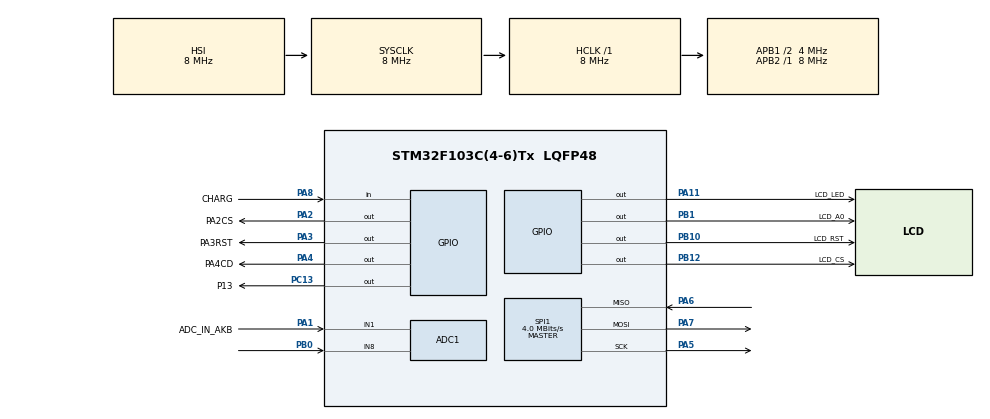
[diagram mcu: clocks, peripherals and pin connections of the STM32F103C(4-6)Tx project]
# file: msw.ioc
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ADC1.Channel-1\#ChannelRegularConversion=ADC_CHANNEL_8
ADC1.Channel-2\#ChannelInjectedConversion=ADC_CHANNEL_1
ADC1.Channel-3\#ChannelInjectedConversion=ADC_CHANNEL_8
ADC1.EnableAnalogWatchDog=false
ADC1.EnableInjectedConversion=ENABLE
ADC1.InjNumberOfConversion=2
ADC1.InjectedConvMode=AutoInjected
ADC1.InjectedOffset-2\#ChannelInjectedConversion=0
ADC1.InjectedOffset-3\#ChannelInjectedConversion=0
ADC1.InjectedRank-2\#ChannelInjectedConversion=1
ADC1.InjectedRank-3\#ChannelInjectedConversion=2
ADC1.NbrOfConversion=1
ADC1.NbrOfConversionFlag=1
ADC1.Rank-1\#ChannelRegularConversion=1
ADC1.SamplingTime-1\#ChannelRegularConversion=ADC_SAMPLETIME_13CYCLES_5
ADC1.SamplingTime-2\#ChannelInjectedConversion=ADC_SAMPLETIME_28CYCLES_5
ADC1.SamplingTime-3\#ChannelInjectedConversion=ADC_SAMPLETIME_28CYCLES_5
ADC1.master=1
Mcu.Family=STM32F1
Mcu.Name=STM32F103C(4-6)Tx
Mcu.Package=LQFP48
NVIC.ADC1_2_IRQn=true\:0\:0\:false\:false\:true\:true\:true\:true
NVIC.PriorityGroup=NVIC_PRIORITYGROUP_4
NVIC.RTC_Alarm_IRQn=true\:0\:0\:false\:false\:true\:true\:true\:true
NVIC.RTC_IRQn=true\:0\:0\:false\:false\:true\:true\:true\:true
PA1.GPIO_Label=ADC_IN_AKB
PA1.Signal=ADCx_IN1
PA11.GPIO_Label=LCD_LED
PA11.Signal=GPIO_Output
PA13.Mode=Serial_Wire
PA13.Signal=SYS_JTMS-SWDIO
PA14.Mode=Serial_Wire
PA14.Signal=SYS_JTCK-SWCLK
PA2.GPIO_Label=PA2CS
PA2.Signal=GPIO_Output
PA3.GPIO_Label=PA3RST
PA3.GPIO_PuPd=GPIO_NOPULL
PA3.PinState=GPIO_PIN_RESET
PA3.Signal=GPIO_Output
PA4.GPIO_Label=PA4CD
PA4.Signal=GPIO_Output
PA5.Mode=Full_Duplex_Master
PA5.Signal=SPI1_SCK
PA6.Mode=Full_Duplex_Master
PA6.Signal=SPI1_MISO
PA7.Mode=Full_Duplex_Master
PA7.Signal=SPI1_MOSI
PA8.GPIO_Label=CHARG
PA8.Signal=GPIO_Input
PB0.Signal=ADCx_IN8
PB1.GPIO_Label=LCD_A0
PB1.Signal=GPIO_Output
PB10.GPIO_Label=LCD_RST
PB10.Signal=GPIO_Output
PB12.GPIO_Label=LCD_CS
PB12.Signal=GPIO_Output
PC13-TAMPER-RTC.GPIO_Label=P13
PC13-TAMPER-RTC.Signal=GPIO_Output
PC14-OSC32_IN.Mode=LSE-External-Oscillator
PC14-OSC32_IN.Signal=RCC_OSC32_IN
PC15-OSC32_OUT.Mode=LSE-External-Oscillator
PC15-OSC32_OUT.Signal=RCC_OSC32_OUT
ProjectManager.HeapSize=0x200
ProjectManager.StackSize=0x400
ProjectManager.TargetToolchain=STM32CubeIDE
RCC.AHBFreq_Value=8000000
RCC.APB1CLKDivider=RCC_HCLK_DIV2
RCC.APB1Freq_Value=4000000
RCC.APB1TimFreq_Value=8000000
RCC.APB2Freq_Value=8000000
RCC.APB2TimFreq_Value=8000000
RCC.HCLKFreq_Value=8000000
RCC.RTCClockSelection=RCC_RTCCLKSOURCE_LSE
RCC.SYSCLKFreq_VALUE=8000000
RCC.USBFreq_Value=8000000
RTC.Date=16
RTC.Hours=16
RTC.Minutes=14
RTC.Month=RTC_MONTH_OCTOBER
RTC.WeekDay=RTC_WEEKDAY_THURSDAY
RTC.Year=25
SH.ADCx_IN1.0=ADC1_IN1,IN1
SH.ADCx_IN8.0=ADC1_IN8,IN8
SPI1.BaudRatePrescaler=SPI_BAUDRATEPRESCALER_2
SPI1.CLKPhase=SPI_PHASE_1EDGE
SPI1.CLKPolarity=SPI_POLARITY_LOW
SPI1.CRCCalculation=SPI_CRCCALCULATION_DISABLE
SPI1.CalculateBaudRate=4.0 MBits/s
SPI1.DataSize=SPI_DATASIZE_8BIT
SPI1.Direction=SPI_DIRECTION_2LINES
SPI1.FirstBit=SPI_FIRSTBIT_MSB
SPI1.Mode=SPI_MODE_MASTER
SPI1.VirtualType=VM_MASTER
VP_RTC_VS_RTC_Activate.Mode=RTC_Enabled
VP_RTC_VS_RTC_Calendar.Mode=RTC_Calendar
board=custom

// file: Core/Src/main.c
/* USER CODE BEGIN Header */
/**
  ******************************************************************************
  * @file           : main.c
  * @brief          : Main program body
  ******************************************************************************
  * @attention
  *
  * Copyright (c) 2025 STMicroelectronics.
  * All rights reserved.
  *
  * This software is licensed under terms that can be found in the LICENSE file
  * in the root directory of this software component.
  * If no LICENSE file comes with this software, it is provided AS-IS.
  *
  ******************************************************************************
  */
/* USER CODE END Header */
#include "main.h"

/* USER CODE BEGIN Includes */
#include "display.h"
#include "RTCManager.h"
#include "Thermistor.h"
#include "Battery.h"
#include "UIManager.h"
#include <math.h>
/* USER CODE END Includes */

ADC_HandleTypeDef hadc1;

RTC_HandleTypeDef hrtc;

SPI_HandleTypeDef hspi1;

/* USER CODE BEGIN PV */

//RTC
uint8_t rtc_tick = 0x0;
RTC_TimeTypeDef clkTime;
RTC_DateTypeDef clkDate;

//ADC
uint8_t adc1_tick = 0x0;
uint16_t _vref = 0;
uint16_t adc1_value_battery = 0;
uint16_t adc1_value_thermistor = 0;

/* USER CODE END PV */

void SystemClock_Config(void);
static void MX_GPIO_Init(void);
static void MX_SPI1_Init(void);
static void MX_RTC_Init(void);
static void MX_ADC1_Init(void);

int main(void)
{

  /* MCU Configuration--------------------------------------------------------*/

  /* Reset of all peripherals, Initializes the Flash interface and the Systick. */
  HAL_Init();

  /* USER CODE BEGIN Init */
  __HAL_RCC_PWR_CLK_ENABLE(); // PWR
  HAL_PWR_EnableBkUpAccess();// backup-домену
  /* USER CODE END Init */

  /* Configure the system clock */
  SystemClock_Config();

  /* Initialize all configured peripherals */
  MX_GPIO_Init();
  MX_SPI1_Init();
  MX_RTC_Init();
  MX_ADC1_Init();
  /* USER CODE BEGIN 2 */
  HAL_ADCEx_Calibration_Start(&hadc1);//калебровка
  LCD_Init();
  UI_Init();
  /* USER CODE END 2 */

  /* Infinite loop */
  /* USER CODE BEGIN WHILE */
  HAL_ADC_Start_IT(&hadc1);
  while (1)
  {
    /* USER CODE END WHILE */

    /* USER CODE BEGIN 3 */

    if (rtc_tick) {
      rtc_tick = 0;
      UI_UpdateDataFromRTC();
      if(adc1_tick){
           adc1_tick = 0;
           UI_UpdateDataFromADC();
           HAL_ADC_Start_IT(&hadc1);
      }
    }

    UI_Update();
    HAL_Delay(1);

  }
  /* USER CODE END 3 */
}

void SystemClock_Config(void)
{
  RCC_OscInitTypeDef RCC_OscInitStruct = {0};
  RCC_ClkInitTypeDef RCC_ClkInitStruct = {0};
  RCC_PeriphCLKInitTypeDef PeriphClkInit = {0};

  /** Initializes the RCC Oscillators according to the specified parameters
  * in the RCC_OscInitTypeDef structure.
  */
  RCC_OscInitStruct.OscillatorType = RCC_OSCILLATORTYPE_HSI|RCC_OSCILLATORTYPE_LSE;
  RCC_OscInitStruct.LSEState = RCC_LSE_ON;
  RCC_OscInitStruct.HSIState = RCC_HSI_ON;
  RCC_OscInitStruct.HSICalibrationValue = RCC_HSICALIBRATION_DEFAULT;
  RCC_OscInitStruct.PLL.PLLState = RCC_PLL_NONE;
  if (HAL_RCC_OscConfig(&RCC_OscInitStruct) != HAL_OK)
  {
    Error_Handler();
  }

  /** Initializes the CPU, AHB and APB buses clocks
  */
  RCC_ClkInitStruct.ClockType = RCC_CLOCKTYPE_HCLK|RCC_CLOCKTYPE_SYSCLK
                              |RCC_CLOCKTYPE_PCLK1|RCC_CLOCKTYPE_PCLK2;
  RCC_ClkInitStruct.SYSCLKSource = RCC_SYSCLKSOURCE_HSI;
  RCC_ClkInitStruct.AHBCLKDivider = RCC_SYSCLK_DIV1;
  RCC_ClkInitStruct.APB1CLKDivider = RCC_HCLK_DIV2;
  RCC_ClkInitStruct.APB2CLKDivider = RCC_HCLK_DIV1;

  if (HAL_RCC_ClockConfig(&RCC_ClkInitStruct, FLASH_LATENCY_0) != HAL_OK)
  {
    Error_Handler();
  }
  PeriphClkInit.PeriphClockSelection = RCC_PERIPHCLK_RTC|RCC_PERIPHCLK_ADC;
  PeriphClkInit.RTCClockSelection = RCC_RTCCLKSOURCE_LSE;
  PeriphClkInit.AdcClockSelection = RCC_ADCPCLK2_DIV2;
  if (HAL_RCCEx_PeriphCLKConfig(&PeriphClkInit) != HAL_OK)
  {
    Error_Handler();
  }
}

static void MX_ADC1_Init(void)
{

  ADC_ChannelConfTypeDef sConfig = {0};
  ADC_InjectionConfTypeDef sConfigInjected = {0};

  /** Common config
  */
  hadc1.Instance = ADC1;
  hadc1.Init.ScanConvMode = ADC_SCAN_ENABLE;
  hadc1.Init.ContinuousConvMode = DISABLE;
  hadc1.Init.DiscontinuousConvMode = DISABLE;
  hadc1.Init.ExternalTrigConv = ADC_SOFTWARE_START;
  hadc1.Init.DataAlign = ADC_DATAALIGN_RIGHT;
  hadc1.Init.NbrOfConversion = 1;
  if (HAL_ADC_Init(&hadc1) != HAL_OK)
  {
    Error_Handler();
  }

  /** Configure Regular Channel
  */
  sConfig.Channel = ADC_CHANNEL_8;
  sConfig.Rank = ADC_REGULAR_RANK_1;
  sConfig.SamplingTime = ADC_SAMPLETIME_13CYCLES_5;
  if (HAL_ADC_ConfigChannel(&hadc1, &sConfig) != HAL_OK)
  {
    Error_Handler();
  }

  /** Configure Injected Channel
  */
  sConfigInjected.InjectedChannel = ADC_CHANNEL_1;
  sConfigInjected.InjectedRank = ADC_INJECTED_RANK_1;
  sConfigInjected.InjectedNbrOfConversion = 2;
  sConfigInjected.InjectedSamplingTime = ADC_SAMPLETIME_28CYCLES_5;
  sConfigInjected.ExternalTrigInjecConv = ADC_INJECTED_SOFTWARE_START;
  sConfigInjected.AutoInjectedConv = ENABLE;
  sConfigInjected.InjectedDiscontinuousConvMode = DISABLE;
  sConfigInjected.InjectedOffset = 0;
  if (HAL_ADCEx_InjectedConfigChannel(&hadc1, &sConfigInjected) != HAL_OK)
  {
    Error_Handler();
  }

  /** Configure Injected Channel
  */
  sConfigInjected.InjectedChannel = ADC_CHANNEL_8;
  sConfigInjected.InjectedRank = ADC_INJECTED_RANK_2;
  if (HAL_ADCEx_InjectedConfigChannel(&hadc1, &sConfigInjected) != HAL_OK)
  {
    Error_Handler();
  }

}

static void MX_RTC_Init(void)
{

  RTC_TimeTypeDef sTime = {0};
  RTC_DateTypeDef DateToUpdate = {0};

  /** Initialize RTC Only
  */
  hrtc.Instance = RTC;
  hrtc.Init.AsynchPrediv = RTC_AUTO_1_SECOND;
  hrtc.Init.OutPut = RTC_OUTPUTSOURCE_ALARM;
  if (HAL_RTC_Init(&hrtc) != HAL_OK)
  {
    Error_Handler();
  }

  /* USER CODE BEGIN Check_RTC_BKUP */
  if (HAL_RTCEx_BKUPRead(&hrtc, RTC_BKP_DR1) != 0x32F)
    {
  	  	sTime.Hours = 0x11;
  	    sTime.Minutes = 0x59;
  	    sTime.Seconds = 0x59;

  	    if (HAL_RTC_SetTime(&hrtc, &sTime, RTC_FORMAT_BCD) != HAL_OK)
  	    {
  	      Error_Handler();
  	    }
        DateToUpdate.WeekDay = RTC_WEEKDAY_THURSDAY;
        DateToUpdate.Month = RTC_MONTH_OCTOBER;
        DateToUpdate.Date = 0x16;
        DateToUpdate.Year = 0x25;

  	    if (HAL_RTC_SetDate(&hrtc, &DateToUpdate, RTC_FORMAT_BCD) != HAL_OK)
  	    {
  	      Error_Handler();
  	    }

  	    HAL_RTCEx_BKUPWrite(&hrtc, RTC_BKP_DR1, 0x32F);//set flag
  	    //save DATE wdDDMMYY
  	    HAL_RTCEx_BKUPWrite(&hrtc, RTC_BKP_DR2, DateToUpdate.WeekDay);
  	    HAL_RTCEx_BKUPWrite(&hrtc, RTC_BKP_DR3, DateToUpdate.Date);
  	    HAL_RTCEx_BKUPWrite(&hrtc, RTC_BKP_DR4, DateToUpdate.Month);
  	    HAL_RTCEx_BKUPWrite(&hrtc, RTC_BKP_DR5, DateToUpdate.Year);
    }else{
  	    DateToUpdate.WeekDay = HAL_RTCEx_BKUPRead(&hrtc, RTC_BKP_DR2);
  	    DateToUpdate.Date    = HAL_RTCEx_BKUPRead(&hrtc, RTC_BKP_DR3);
  	    DateToUpdate.Month   = HAL_RTCEx_BKUPRead(&hrtc, RTC_BKP_DR4);
  	    DateToUpdate.Year    = HAL_RTCEx_BKUPRead(&hrtc, RTC_BKP_DR5);
  	    HAL_RTC_SetDate(&hrtc, &DateToUpdate, RTC_FORMAT_BCD);
    }
  /* USER CODE END Check_RTC_BKUP */

  /* USER CODE BEGIN RTC_Init 2 */
  HAL_NVIC_SetPriority(RTC_IRQn, 0, 0);
  HAL_NVIC_EnableIRQ(RTC_IRQn);
  __HAL_RTC_SECOND_ENABLE_IT(&hrtc, RTC_IT_SEC);
  /* USER CODE END RTC_Init 2 */

}

static void MX_SPI1_Init(void)
{

  /* SPI1 parameter configuration*/
  hspi1.Instance = SPI1;
  hspi1.Init.Mode = SPI_MODE_MASTER;
  hspi1.Init.Direction = SPI_DIRECTION_2LINES;
  hspi1.Init.DataSize = SPI_DATASIZE_8BIT;
  hspi1.Init.CLKPolarity = SPI_POLARITY_LOW;
  hspi1.Init.CLKPhase = SPI_PHASE_1EDGE;
  hspi1.Init.NSS = SPI_NSS_SOFT;
  hspi1.Init.BaudRatePrescaler = SPI_BAUDRATEPRESCALER_2;
  hspi1.Init.FirstBit = SPI_FIRSTBIT_MSB;
  hspi1.Init.TIMode = SPI_TIMODE_DISABLE;
  hspi1.Init.CRCCalculation = SPI_CRCCALCULATION_DISABLE;
  hspi1.Init.CRCPolynomial = 10;
  if (HAL_SPI_Init(&hspi1) != HAL_OK)
  {
    Error_Handler();
  }

}

static void MX_GPIO_Init(void)
{
  GPIO_InitTypeDef GPIO_InitStruct = {0};

  /* GPIO Ports Clock Enable */
  __HAL_RCC_GPIOC_CLK_ENABLE();
  __HAL_RCC_GPIOA_CLK_ENABLE();
  __HAL_RCC_GPIOB_CLK_ENABLE();

  /*Configure GPIO pin Output Level */
  HAL_GPIO_WritePin(P13_GPIO_Port, P13_Pin, GPIO_PIN_RESET);

  /*Configure GPIO pin Output Level */
  HAL_GPIO_WritePin(GPIOA, PA2CS_Pin|PA3RST_Pin|PA4CD_Pin|LCD_LED_Pin, GPIO_PIN_RESET);

  /*Configure GPIO pin Output Level */
  HAL_GPIO_WritePin(GPIOB, LCD_A0_Pin|LCD_RST_Pin|LCD_CS_Pin, GPIO_PIN_RESET);

  /*Configure GPIO pin : P13_Pin */
  GPIO_InitStruct.Pin = P13_Pin;
  GPIO_InitStruct.Mode = GPIO_MODE_OUTPUT_PP;
  GPIO_InitStruct.Pull = GPIO_NOPULL;
  GPIO_InitStruct.Speed = GPIO_SPEED_FREQ_LOW;
  HAL_GPIO_Init(P13_GPIO_Port, &GPIO_InitStruct);

  /*Configure GPIO pins : PA2CS_Pin PA3RST_Pin PA4CD_Pin LCD_LED_Pin */
  GPIO_InitStruct.Pin = PA2CS_Pin|PA3RST_Pin|PA4CD_Pin|LCD_LED_Pin;
  GPIO_InitStruct.Mode = GPIO_MODE_OUTPUT_PP;
  GPIO_InitStruct.Pull = GPIO_NOPULL;
  GPIO_InitStruct.Speed = GPIO_SPEED_FREQ_LOW;
  HAL_GPIO_Init(GPIOA, &GPIO_InitStruct);

  /*Configure GPIO pins : LCD_A0_Pin LCD_RST_Pin LCD_CS_Pin */
  GPIO_InitStruct.Pin = LCD_A0_Pin|LCD_RST_Pin|LCD_CS_Pin;
  GPIO_InitStruct.Mode = GPIO_MODE_OUTPUT_PP;
  GPIO_InitStruct.Pull = GPIO_NOPULL;
  GPIO_InitStruct.Speed = GPIO_SPEED_FREQ_LOW;
  HAL_GPIO_Init(GPIOB, &GPIO_InitStruct);

  /*Configure GPIO pin : CHARG_Pin */
  GPIO_InitStruct.Pin = CHARG_Pin;
  GPIO_InitStruct.Mode = GPIO_MODE_INPUT;
  GPIO_InitStruct.Pull = GPIO_NOPULL;
  HAL_GPIO_Init(CHARG_GPIO_Port, &GPIO_InitStruct);

}

void Error_Handler(void)
{
  /* USER CODE BEGIN Error_Handler_Debug */
  /* User can add his own implementation to report the HAL error return state */
  __disable_irq();
  while (1)
  {
	  HAL_GPIO_TogglePin(P13_GPIO_Port, P13_Pin);
	  HAL_Delay(250);

    LCD_Clear();
    LCD_DrawText(8, 8, "???", 1);
    LCD_Update();
  }
  /* USER CODE END Error_Handler_Debug */
}
